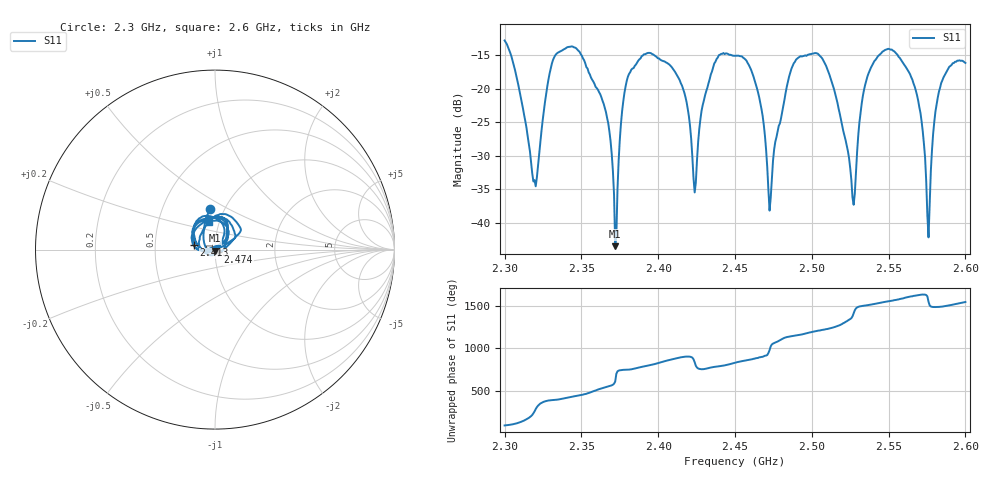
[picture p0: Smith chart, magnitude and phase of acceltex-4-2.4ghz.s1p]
! NanoVNA-App
! Date: 2026-05-15 12:13:11
! Start: 2.3GHz Stop: 2.6GHz Points: 401
! S-Parameter data: F S11
# Hz S RI R 50
!  Frequency  S11_Real  S11_Imag
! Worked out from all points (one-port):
!   401 points, 2.3 GHz to 2.6 GHz, reference 50 ohm
!   lowest |S11| = -43.5 dB at 2.372 GHz (marker M1), VSWR 1.01, Z = 49.8 - j0.628 ohm
!   |S11| at or under -10 dB: start of sweep to end of sweep
!   S11 on the Smith chart (normalised r, x): 2.3 GHz: 0.86, +0.41; 2.413 GHz: 0.79, +0.04; 2.474 GHz: 1.04, -0.03; 2.6 GHz: 0.90, +0.28
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2.3e9  -0.0256 0.2266
2.3195e9  -0.00319 -0.0205
2.32925e9  0.1112 0.065
2.3375e9  0.1251 0.1461
2.36375e9  -0.0805 0.00979
2.36825e9  -0.0456 -0.0137
2.372e9  -0.00225 -0.00631
2.375e9  0.0384 0.0157
2.3795e9  0.0996 0.0551
2.3885e9  0.086 0.144
2.4125e9  -0.12 0.0313
2.41325e9  -0.1173 0.024
2.42375e9  -0.00762 0.015
2.43575e9  0.0722 0.1242
2.45e9  -0.0619 0.1641
2.46275e9  -0.1075 0.0422
2.474e9  0.0177 -0.0121
2.4875e9  0.0651 0.132
2.50775e9  -0.1172 0.1083
2.525e9  -0.00352 -0.0254
2.52725e9  0.0117 -0.00703
2.53325e9  0.0481 0.0738
2.54e9  0.0362 0.1507
2.5625e9  -0.1268 0.0513
2.57075e9  -0.0654 -0.00752
2.576e9  -0.00192 0.00755
2.5835e9  0.0707 0.0725
2.6e9  -0.0322 0.1517
